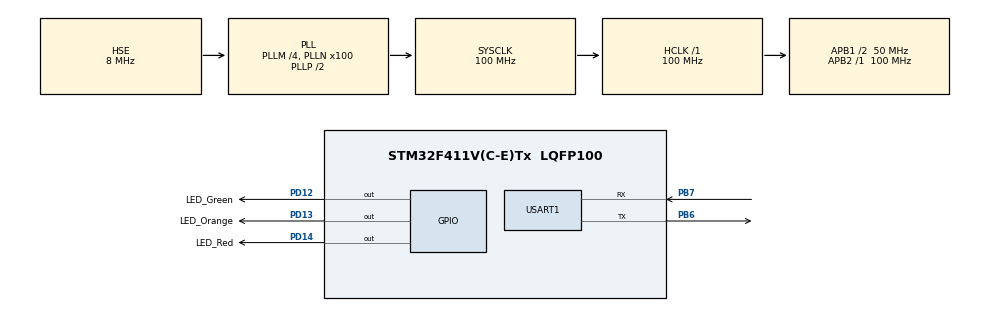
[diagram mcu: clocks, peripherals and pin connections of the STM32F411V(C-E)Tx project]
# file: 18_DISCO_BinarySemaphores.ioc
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FREERTOS.Tasks01=defaultTask,24,128,StartDefaultTask,Default,NULL,Dynamic,NULL,NULL
FREERTOS.configUSE_NEWLIB_REENTRANT=1
FREERTOS.configUSE_PREEMPTION=1
Mcu.Family=STM32F4
Mcu.Name=STM32F411V(C-E)Tx
Mcu.Package=LQFP100
NVIC.PriorityGroup=NVIC_PRIORITYGROUP_4
NVIC.TIM1_UP_TIM10_IRQn=true\:15\:0\:false\:false\:true\:false\:false\:true\:true
NVIC.TimeBase=TIM1_UP_TIM10_IRQn
NVIC.TimeBaseIP=TIM1
PA13.GPIO_Label=SWDIO
PA13.Mode=Serial_Wire
PA13.Signal=SYS_JTMS-SWDIO
PA14.GPIO_Label=SWCLK
PA14.Mode=Serial_Wire
PA14.Signal=SYS_JTCK-SWCLK
PB3.GPIO_Label=SWO
PB3.Signal=SYS_JTDO-SWO
PB6.Mode=Asynchronous
PB6.Signal=USART1_TX
PB7.Mode=Asynchronous
PB7.Signal=USART1_RX
PD12.GPIO_Label=LED_Green
PD12.Signal=GPIO_Output
PD13.GPIO_Label=LED_Orange
PD13.Signal=GPIO_Output
PD14.GPIO_Label=LED_Red
PD14.Signal=GPIO_Output
PH0\ -\ OSC_IN.GPIO_Label=PH0-OSC_IN
PH0\ -\ OSC_IN.Mode=HSE-External-Oscillator
PH0\ -\ OSC_IN.Signal=RCC_OSC_IN
PH1\ -\ OSC_OUT.GPIO_Label=PH1-OSC_OUT
PH1\ -\ OSC_OUT.Mode=HSE-External-Oscillator
PH1\ -\ OSC_OUT.Signal=RCC_OSC_OUT
ProjectManager.HeapSize=0x200
ProjectManager.StackSize=0x400
ProjectManager.TargetToolchain=STM32CubeIDE
RCC.48MHZClocksFreq_Value=25000000
RCC.AHBFreq_Value=100000000
RCC.APB1CLKDivider=RCC_HCLK_DIV2
RCC.APB1Freq_Value=50000000
RCC.APB1TimFreq_Value=100000000
RCC.APB2Freq_Value=100000000
RCC.APB2TimFreq_Value=100000000
RCC.CortexFreq_Value=100000000
RCC.HCLKFreq_Value=100000000
RCC.HSE_VALUE=8000000
RCC.HSI_VALUE=16000000
RCC.LSE_VALUE=32768
RCC.PLLI2SM=5
RCC.PLLI2SN=200
RCC.PLLM=4
RCC.PLLN=100
RCC.PLLQ=8
RCC.PLLSourceVirtual=RCC_PLLSOURCE_HSE
RCC.SYSCLKFreq_VALUE=100000000
RCC.SYSCLKSource=RCC_SYSCLKSOURCE_PLLCLK
RCC.VCOOutputFreq_Value=200000000
USART1.VirtualMode=VM_ASYNC
VP_FREERTOS_VS_CMSIS_V2.Mode=CMSIS_V2
VP_SYS_VS_tim1.Mode=TIM1
board=STM32F411E-DISCO

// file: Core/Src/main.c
/* USER CODE BEGIN Header */
/**
  ******************************************************************************
  * @file           : main.c
  * @brief          : Main program body
  ******************************************************************************
  * @attention
  *
  * Copyright (c) 2023 STMicroelectronics.
  * All rights reserved.
  *
  * This software is licensed under terms that can be found in the LICENSE file
  * in the root directory of this software component.
  * If no LICENSE file comes with this software, it is provided AS-IS.
  *
  ******************************************************************************
  */
/* USER CODE END Header */
#include "main.h"
#include "cmsis_os.h"

/* USER CODE BEGIN Includes */
#include "stdio.h"
#include "semphr.h"
/* USER CODE END Includes */

/* USER CODE BEGIN PTD */
typedef int TaskProfiler;
/* USER CODE END PTD */

UART_HandleTypeDef huart1;

/* Definitions for defaultTask */
//osThreadId_t defaultTaskHandle;
//const osThreadAttr_t defaultTask_attributes = {
//  .name = "defaultTask",
//  .stack_size = 128 * 4,
//  .priority = (osPriority_t) osPriorityNormal,
//};
/* USER CODE BEGIN PV */
SemaphoreHandle_t xBinarySemaphore;

TaskProfiler GreenLedProfiler;
TaskProfiler OrangeLedProfiler;
TaskProfiler RedLedProfiler;
/* USER CODE END PV */

void SystemClock_Config(void);
static void MX_GPIO_Init(void);
static void MX_USART1_UART_Init(void);
//void StartDefaultTask(void *argument);

/* USER CODE BEGIN PFP */
void greenLedControllerTask (void *pvParameters);
void orangeLedControllerTask (void *pvParameters);
void redLedControllerTask (void *pvParameters);
int uart1_write(int ch);
int __io_putchar(int ch);
/* USER CODE END PFP */

int main(void)
{

  /* MCU Configuration--------------------------------------------------------*/

  /* Reset of all peripherals, Initializes the Flash interface and the Systick. */
  HAL_Init();

  /* Configure the system clock */
  SystemClock_Config();

  /* Initialize all configured peripherals */
  MX_GPIO_Init();
  MX_USART1_UART_Init();
  /* USER CODE BEGIN 2 */
  printf("System initializing");

  xTaskCreate(greenLedControllerTask, "Green LED Task", 100, NULL, 1, NULL);
  xTaskCreate(orangeLedControllerTask, "Orange LED Task", 100, NULL, 1, NULL);
  xTaskCreate(redLedControllerTask, "Red LED Task", 100, NULL, 1, NULL);

  xBinarySemaphore = xSemaphoreCreateBinary();
  xSemaphoreGive(xBinarySemaphore);
  vTaskStartScheduler();
  /* USER CODE END 2 */

  /* Init scheduler */
//  osKernelInitialize();

  /* Create the thread(s) */
  /* creation of defaultTask */
//  defaultTaskHandle = osThreadNew(StartDefaultTask, NULL, &defaultTask_attributes);

  /* Start scheduler */
//  osKernelStart();

  /* We should never get here as control is now taken by the scheduler */
  /* Infinite loop */
  while (1)
  {

  }
}

void SystemClock_Config(void)
{
  RCC_OscInitTypeDef RCC_OscInitStruct = {0};
  RCC_ClkInitTypeDef RCC_ClkInitStruct = {0};

  /** Configure the main internal regulator output voltage
  */
  __HAL_RCC_PWR_CLK_ENABLE();
  __HAL_PWR_VOLTAGESCALING_CONFIG(PWR_REGULATOR_VOLTAGE_SCALE1);

  /** Initializes the RCC Oscillators according to the specified parameters
  * in the RCC_OscInitTypeDef structure.
  */
  RCC_OscInitStruct.OscillatorType = RCC_OSCILLATORTYPE_HSE;
  RCC_OscInitStruct.HSEState = RCC_HSE_ON;
  RCC_OscInitStruct.PLL.PLLState = RCC_PLL_ON;
  RCC_OscInitStruct.PLL.PLLSource = RCC_PLLSOURCE_HSE;
  RCC_OscInitStruct.PLL.PLLM = 4;
  RCC_OscInitStruct.PLL.PLLN = 100;
  RCC_OscInitStruct.PLL.PLLP = RCC_PLLP_DIV2;
  RCC_OscInitStruct.PLL.PLLQ = 8;
  if (HAL_RCC_OscConfig(&RCC_OscInitStruct) != HAL_OK)
  {
    Error_Handler();
  }

  /** Initializes the CPU, AHB and APB buses clocks
  */
  RCC_ClkInitStruct.ClockType = RCC_CLOCKTYPE_HCLK|RCC_CLOCKTYPE_SYSCLK
                              |RCC_CLOCKTYPE_PCLK1|RCC_CLOCKTYPE_PCLK2;
  RCC_ClkInitStruct.SYSCLKSource = RCC_SYSCLKSOURCE_PLLCLK;
  RCC_ClkInitStruct.AHBCLKDivider = RCC_SYSCLK_DIV1;
  RCC_ClkInitStruct.APB1CLKDivider = RCC_HCLK_DIV2;
  RCC_ClkInitStruct.APB2CLKDivider = RCC_HCLK_DIV1;

  if (HAL_RCC_ClockConfig(&RCC_ClkInitStruct, FLASH_LATENCY_3) != HAL_OK)
  {
    Error_Handler();
  }
}

static void MX_USART1_UART_Init(void)
{

  huart1.Instance = USART1;
  huart1.Init.BaudRate = 115200;
  huart1.Init.WordLength = UART_WORDLENGTH_8B;
  huart1.Init.StopBits = UART_STOPBITS_1;
  huart1.Init.Parity = UART_PARITY_NONE;
  huart1.Init.Mode = UART_MODE_TX_RX;
  huart1.Init.HwFlowCtl = UART_HWCONTROL_NONE;
  huart1.Init.OverSampling = UART_OVERSAMPLING_16;
  if (HAL_UART_Init(&huart1) != HAL_OK)
  {
    Error_Handler();
  }

}

static void MX_GPIO_Init(void)
{
  GPIO_InitTypeDef GPIO_InitStruct = {0};

  /* GPIO Ports Clock Enable */
  __HAL_RCC_GPIOH_CLK_ENABLE();
  __HAL_RCC_GPIOD_CLK_ENABLE();
  __HAL_RCC_GPIOA_CLK_ENABLE();
  __HAL_RCC_GPIOB_CLK_ENABLE();

  /*Configure GPIO pin Output Level */
  HAL_GPIO_WritePin(GPIOD, LED_Green_Pin|LED_Orange_Pin|LED_Red_Pin, GPIO_PIN_RESET);

  /*Configure GPIO pins : LED_Green_Pin LED_Orange_Pin LED_Red_Pin */
  GPIO_InitStruct.Pin = LED_Green_Pin|LED_Orange_Pin|LED_Red_Pin;
  GPIO_InitStruct.Mode = GPIO_MODE_OUTPUT_PP;
  GPIO_InitStruct.Pull = GPIO_NOPULL;
  GPIO_InitStruct.Speed = GPIO_SPEED_FREQ_LOW;
  HAL_GPIO_Init(GPIOD, &GPIO_InitStruct);

}

/* USER CODE BEGIN 4 */
void greenLedControllerTask (void *pvParameters)
{

	while(1)
	{
		xSemaphoreTake(xBinarySemaphore, portMAX_DELAY);

		HAL_GPIO_TogglePin(LED_Green_GPIO_Port, LED_Green_Pin);
		printf("This is the Green_Task\n\r");
		GreenLedProfiler++;

		xSemaphoreGive(xBinarySemaphore);
		vTaskDelay(1);
	}
}

void orangeLedControllerTask (void *pvParameters)
{
	while(1)
	{
		xSemaphoreTake(xBinarySemaphore, portMAX_DELAY);

		HAL_GPIO_TogglePin(LED_Orange_GPIO_Port, LED_Orange_Pin);
		printf("This is the Orange_Task\n\r");
		OrangeLedProfiler++;

		xSemaphoreGive(xBinarySemaphore);
		vTaskDelay(1);
	}
}

void redLedControllerTask (void *pvParameters)
{
	while(1)
	{
		xSemaphoreTake(xBinarySemaphore, portMAX_DELAY);

		HAL_GPIO_TogglePin(LED_Red_GPIO_Port, LED_Red_Pin);
		printf("This is the Red_Task\n\r");
		RedLedProfiler++;

		xSemaphoreGive(xBinarySemaphore);
		vTaskDelay(1);
	}
}

int uart1_write(int ch)
{
	while(!(USART1->SR & 0x0080)) {}
	USART1->DR = (ch & 0xFF);
	return ch;
}

int __io_putchar(int ch)
{
	uart1_write(ch);
	return ch;
}

/* USER CODE END 4 */

//void StartDefaultTask(void *argument)
//{
//  /* USER CODE BEGIN 5 */
//  /* Infinite loop */
//  for(;;)
//  {
//    osDelay(1);
//  }
//  /* USER CODE END 5 */
//}

void HAL_TIM_PeriodElapsedCallback(TIM_HandleTypeDef *htim)
{
  if (htim->Instance == TIM1) {
    HAL_IncTick();
  }
}

void Error_Handler(void)
{
  __disable_irq();
  while (1)
  {
  }
}
